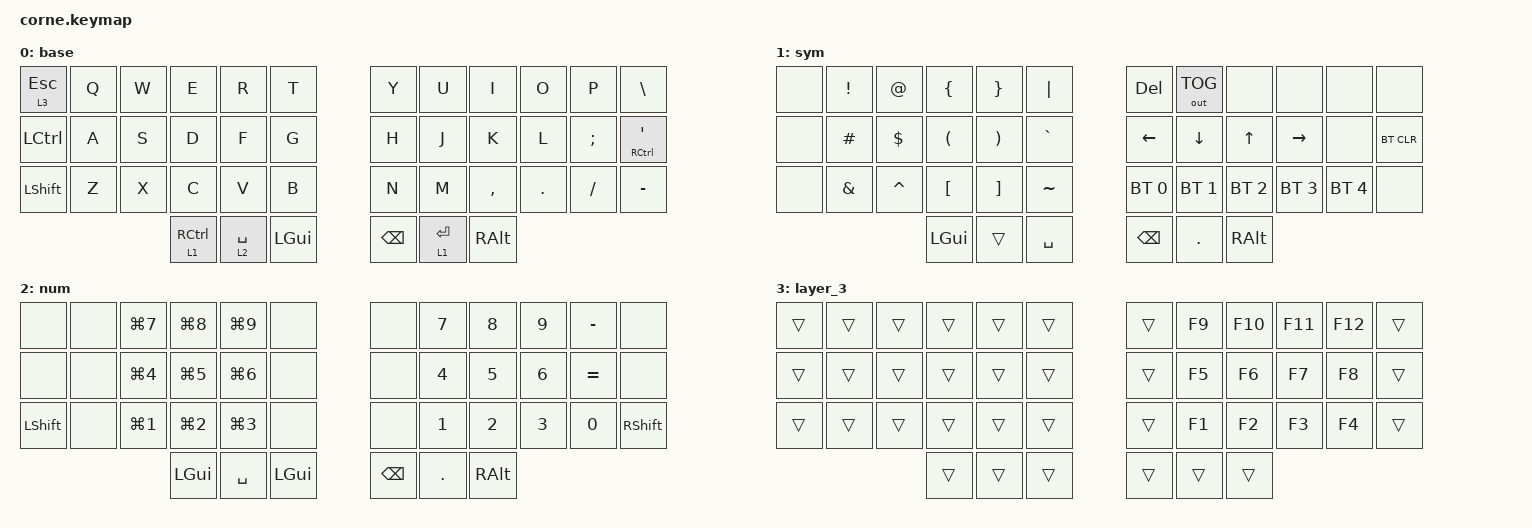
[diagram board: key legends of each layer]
/*
 * Copyright (c) 2020 The ZMK Contributors
 *
 * SPDX-License-Identifier: MIT
 */

#include <behaviors.dtsi>
#include <dt-bindings/zmk/bt.h>
#include <dt-bindings/zmk/keys.h>
#include <dt-bindings/zmk/outputs.h>

/ {
    combos {
        compatible = "zmk,combos";

        terminal {
            bindings = <&kp LG(ENTER)>;
            key-positions = <18 19>;
        };

        rofi {
            bindings = <&kp LG(SPACE)>;
            key-positions = <16 17>;
        };

        firefox-home {
            bindings = <&kp LG(LS(H))>;
            key-positions = <18 16>;
        };

        firefox-work {
            bindings = <&kp LG(LS(W))>;
            key-positions = <2 16>;
        };

        asterix {
            bindings = <&kp ASTERISK>;
            key-positions = <4 5>;
        };

        num_layer_oneshot {
            bindings = <&sl 2>;
            key-positions = <8 9>;
        };

        tab {
            bindings = <&kp TAB>;
            key-positions = <14 15>;
        };

        esc {
            bindings = <&kp ESCAPE>;
            key-positions = <19 20>;
        };
    };

    keymap {
        compatible = "zmk,keymap";

        base {
            // -----------------------------------------------------------------------------------------
            // |  TAB |  Q  |  W  |  E  |  R  |  T  |   |  Y  |  U   |  I  |  O  |  P  | BKSP |
            // | CTRL |  A  |  S  |  D  |  F  |  G  |   |  H  |  J   |  K  |  L  |  ;  |  '   |
            // | SHFT |  Z  |  X  |  C  |  V  |  B  |   |  N  |  M   |  ,  |  .  |  /  | ESC  |
            //                    | GUI | LWR | SPC |   | ENT | RSE  | ALT |
            //   &kp TAB       &kp Q    &kp W     &kp E    &kp R     &kp T        &kp Y    &kp U   &kp I     &kp O   &kp P      &kp BSLH 
            //   &kp LC(ESC)   &lt 1 A  &lt 2 S   &kp D    &kp F     &kp G        &kp H    &kp J   &kp K     &lt 2 L &lt 1 SEMI &kp RC(SQT)
            //   &kp LSHFT     &kp Z    &kp X     &kp C    &kp V     &kp B        &kp N    &kp M   &kp COMMA &kp DOT &kp FSLH   &kp MINUS 
            //                                    &kp LGUI &kp SPACE &kp LGUI     &kp BSPC &kp ENT &kp RALT

            bindings = <
&lt 3 ESCAPE  &kp Q  &kp W  &kp E        &kp R        &kp T       &kp Y     &kp U        &kp I      &kp O    &kp P          &kp BACKSLASH
&kp LCTRL     &kp A  &kp S  &kp D        &kp F        &kp G       &kp H     &kp J        &kp K      &kp L    &kp SEMICOLON  &mt RCTRL SINGLE_QUOTE
&kp LSHFT     &kp Z  &kp X  &kp C        &kp V        &kp B       &kp N     &kp M        &kp COMMA  &kp DOT  &kp FSLH       &kp MINUS
                            &lt 1 RCTRL  &lt 2 SPACE  &kp LGUI    &kp BSPC  &lt 1 ENTER  &kp RALT
            >;

            label = "base";
        };

        symbols {
            // -----------------------------------------------------------------------------------------
            // |  TAB |  1  |  2  |  3  |  4  |  5  |   |  6  |  7  |  8  |  9  |  0  | BKSP |
            // | BTCLR| BT1 | BT2 | BT3 | BT4 | BT5 |   | LFT | DWN |  UP | RGT |     |      |
            // | SHFT |     |     |     |     |     |   |     |     |     |     |     |      |
            //                    | GUI |     | SPC |   | ENT |     | ALT |

            bindings = <
&none  &kp EXCLAMATION  &kp AT_SIGN  &kp LEFT_BRACE        &kp RIGHT_BRACE        &kp PIPE     &kp DELETE     &out OUT_TOG  &none         &none         &none         &none
&none  &kp HASH         &kp DOLLAR   &kp LEFT_PARENTHESIS  &kp RIGHT_PARENTHESIS  &kp GRAVE    &kp LEFT       &kp DOWN      &kp UP        &kp RIGHT     &none         &bt BT_CLR
&none  &kp AMPERSAND    &kp CARET    &kp LEFT_BRACKET      &kp RIGHT_BRACKET      &kp TILDE    &bt BT_SEL 0   &bt BT_SEL 1  &bt BT_SEL 2  &bt BT_SEL 3  &bt BT_SEL 4  &none
                                     &kp LGUI              &trans                 &kp SPACE    &kp BACKSPACE  &kp DOT       &kp RALT
            >;

            label = "sym";
        };

        numbers {
            // -----------------------------------------------------------------------------------------
            // |  TAB |  !  |  @  |  #  |  $  |  %  |   |  ^  |  &  |  *  |  (  |  )  | BKSP |
            // | CTRL |     |     |     |     |     |   |  -  |  =  |  [  |  ]  |  \  |  `   |
            // | SHFT |     |     |     |     |     |   |  _  |  +  |  {  |  }  | "|" |  ~   |
            //                    | GUI |     | SPC |   | ENT |     | ALT |

            bindings = <
&none      &none  &kp LG(NUMBER_7)  &kp LG(NUMBER_8)  &kp LG(NUMBER_9)  &none       &none     &kp NUMBER_7  &kp NUMBER_8  &kp NUMBER_9  &kp MINUS     &none
&none      &none  &kp LG(NUMBER_4)  &kp LG(NUMBER_5)  &kp LG(NUMBER_6)  &none       &none     &kp NUMBER_4  &kp NUMBER_5  &kp NUMBER_6  &kp EQUAL     &none
&kp LSHFT  &none  &kp LG(NUMBER_1)  &kp LG(NUMBER_2)  &kp LG(NUMBER_3)  &none       &none     &kp NUMBER_1  &kp NUMBER_2  &kp NUMBER_3  &kp NUMBER_0  &kp RSHFT
                                    &kp LGUI          &kp SPACE         &kp LGUI    &kp BSPC  &kp DOT       &kp RALT
            >;

            label = "num";
        };

        layer_3 {
            bindings = <
&trans  &trans  &trans  &trans  &trans  &trans    &trans  &kp F9  &kp F10  &kp F11  &kp F12  &trans
&trans  &trans  &trans  &trans  &trans  &trans    &trans  &kp F5  &kp F6   &kp F7   &kp F8   &trans
&trans  &trans  &trans  &trans  &trans  &trans    &trans  &kp F1  &kp F2   &kp F3   &kp F4   &trans
                        &trans  &trans  &trans    &trans  &trans  &trans
            >;
        };
    };
};
